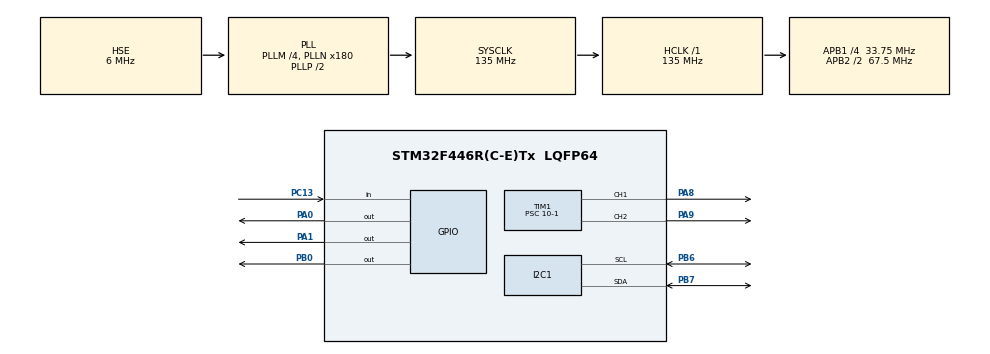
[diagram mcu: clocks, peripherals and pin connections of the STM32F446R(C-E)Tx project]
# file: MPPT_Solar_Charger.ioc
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Dma.Request0=TIM1_CH1
Dma.Request1=TIM1_CH2
Dma.TIM1_CH1.0.Direction=DMA_MEMORY_TO_PERIPH
Dma.TIM1_CH1.0.FIFOMode=DMA_FIFOMODE_DISABLE
Dma.TIM1_CH1.0.Instance=DMA2_Stream1
Dma.TIM1_CH1.0.MemDataAlignment=DMA_MDATAALIGN_HALFWORD
Dma.TIM1_CH1.0.MemInc=DMA_MINC_ENABLE
Dma.TIM1_CH1.0.Mode=DMA_CIRCULAR
Dma.TIM1_CH1.0.PeriphDataAlignment=DMA_PDATAALIGN_HALFWORD
Dma.TIM1_CH1.0.PeriphInc=DMA_PINC_DISABLE
Dma.TIM1_CH1.0.Priority=DMA_PRIORITY_LOW
Dma.TIM1_CH2.1.Direction=DMA_MEMORY_TO_PERIPH
Dma.TIM1_CH2.1.FIFOMode=DMA_FIFOMODE_DISABLE
Dma.TIM1_CH2.1.Instance=DMA2_Stream2
Dma.TIM1_CH2.1.MemDataAlignment=DMA_MDATAALIGN_HALFWORD
Dma.TIM1_CH2.1.MemInc=DMA_MINC_ENABLE
Dma.TIM1_CH2.1.Mode=DMA_CIRCULAR
Dma.TIM1_CH2.1.PeriphDataAlignment=DMA_PDATAALIGN_HALFWORD
Dma.TIM1_CH2.1.PeriphInc=DMA_PINC_DISABLE
Dma.TIM1_CH2.1.Priority=DMA_PRIORITY_LOW
I2C1.I2C_Mode=I2C_Fast
Mcu.Family=STM32F4
Mcu.Name=STM32F446R(C-E)Tx
Mcu.Package=LQFP64
NVIC.DMA2_Stream1_IRQn=true\:0\:0\:false\:false\:true\:false\:true\:true
NVIC.DMA2_Stream2_IRQn=true\:0\:0\:false\:false\:true\:false\:true\:true
NVIC.PriorityGroup=NVIC_PRIORITYGROUP_4
PA0-WKUP.Signal=GPIO_Output
PA1.Signal=GPIO_Output
PA8.Signal=S_TIM1_CH1
PA9.Signal=S_TIM1_CH2
PB0.Signal=GPIO_Output
PB6.Mode=I2C
PB6.Signal=I2C1_SCL
PB7.Mode=I2C
PB7.Signal=I2C1_SDA
PC13.Signal=GPIO_Input
PH0-OSC_IN.Mode=HSE-External-Oscillator
PH0-OSC_IN.Signal=RCC_OSC_IN
PH1-OSC_OUT.Mode=HSE-External-Oscillator
PH1-OSC_OUT.Signal=RCC_OSC_OUT
ProjectManager.HeapSize=0x200
ProjectManager.StackSize=0x400
ProjectManager.TargetToolchain=STM32CubeIDE
RCC.AHBFreq_Value=135000000
RCC.APB1CLKDivider=RCC_HCLK_DIV4
RCC.APB1Freq_Value=33750000
RCC.APB1TimFreq_Value=67500000
RCC.APB2CLKDivider=RCC_HCLK_DIV2
RCC.APB2Freq_Value=67500000
RCC.APB2TimFreq_Value=135000000
RCC.CortexFreq_Value=135000000
RCC.HCLKFreq_Value=135000000
RCC.HSE_VALUE=6000000
RCC.PLLM=4
RCC.PLLN=180
RCC.PLLSourceVirtual=RCC_PLLSOURCE_HSE
RCC.SYSCLKFreq_VALUE=135000000
RCC.SYSCLKSource=RCC_SYSCLKSOURCE_PLLCLK
RCC.USBFreq_Value=135000000
RCC.VCOOutputFreq_Value=270000000
SH.S_TIM1_CH1.0=TIM1_CH1,PWM Generation1 CH1
SH.S_TIM1_CH2.0=TIM1_CH2,PWM Generation2 CH2
TIM1.Channel-PWM\ Generation1\ CH1=TIM_CHANNEL_1
TIM1.Channel-PWM\ Generation2\ CH2=TIM_CHANNEL_2
TIM1.Period=1000-1
TIM1.Prescaler=10-1
TIM9.Prescaler=180-1
VP_TIM1_VS_ClockSourceINT.Mode=Internal
VP_TIM9_VS_ClockSourceINT.Mode=Internal
board=custom

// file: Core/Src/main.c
/* USER CODE BEGIN Header */
/**
  ******************************************************************************
  * @file           : main.c
  * @brief          : Main program body
  ******************************************************************************
  * @attention
  *
  * Copyright (c) 2026 STMicroelectronics.
  * All rights reserved.
  *
  * This software is licensed under terms that can be found in the LICENSE file
  * in the root directory of this software component.
  * If no LICENSE file comes with this software, it is provided AS-IS.
  *
  ******************************************************************************
  */
/* USER CODE END Header */
#include "main.h"

/* USER CODE BEGIN Includes */
#include "stdio.h" // for sprintf
#include "ADS1115.h"
#include "ssd1306.h"
#include "fonts.h"
#include "i2c-lcd.h"
#include "dht11.h"

/* USER CODE END Includes */

/* USER CODE BEGIN PD */
// ADS ACS Config
#define NUM_SAMPLES                  10
#define GAIN_ONE_FACTOR              0.000125f
#define GAIN_SIXTEEN_FACTOR          0.0000078125f
#define EMP_ADC1_ZERO_CURRENT_OFFSET 2900
#define EMP_ADC2_ZERO_CURRENT_OFFSET 1300
#define ACS712_SENSITIVITY           0.185f
#define EMP_V_A2_IN_CONSTANT         0.091160986f
#define EMP_V_A2_OUT_CONSTANT        0.091669765f
#define PWM_INCREMENT                50 // when using button (open loop)

// MPPT Config for closed loop feedback
// using PWM resolution of 1000
#define MPPT_DELTA_DUTY     10
#define MPPT_DUTY_MIN       100
#define MPPT_DUTY_MAX       900

// MPPT state variables
float prev_p_in      = 0.0f;
float prev_v_in      = 0.0f;
float prev_duty_q1   = 500;          // depends on the battery used for charging.

// Fan control
#define FAN_DELTA_DUTY     50
#define FAN_MIN 0
#define FAN_MAX 500

/* USER CODE END PD */

I2C_HandleTypeDef hi2c1;

TIM_HandleTypeDef htim1;
TIM_HandleTypeDef htim9;
DMA_HandleTypeDef hdma_tim1_ch1;
DMA_HandleTypeDef hdma_tim1_ch2;

/* USER CODE BEGIN PV */
ADS1xx5_I2C i2c1;
ADS1xx5_I2C i2c2;

/* USER CODE END PV */

void SystemClock_Config(void);
static void MX_GPIO_Init(void);
static void MX_DMA_Init(void);
static void MX_TIM1_Init(void);
static void MX_I2C1_Init(void);
static void MX_TIM9_Init(void);
/* USER CODE BEGIN PFP */
void delay_us(uint16_t us);
void check_button(void);

/* USER CODE END PFP */

/* USER CODE BEGIN 0 */
uint32_t duty_q1 = 50;
float d_q1_percent = 0;

// ADC raw accumulator variables (need to hold sum of NUM_SAMPLES readings
int32_t raw_adc1_a0 = 0; // measures input current
int32_t raw_adc1_a2 = 0; // measures input voltage

int32_t raw_adc2_a0 = 0; // measures output current
int32_t raw_adc2_a2 = 0; // measures output voltage

// Mean ADC values (averaged readings)
int16_t mean_adc1[3]; // ADC readings are signed, max value 32,767
int16_t raw_adc1[3]; // raw readings

int16_t mean_adc2[3]; // ADC readings are signed, max value 32,767
int16_t raw_adc2[3]; // raw readings

// voltage calculations (floating point for precision)
float mean_adc1_A0_v, mean_adc1_A2_v, mean_v_in, mean_i_in, mean_p_in;
float mean_adc2_A0_v, mean_adc2_A2_v, mean_v_out, mean_i_out, mean_p_out;

// Display variables as strings
char buf_p_in[6], buf_i_in[5], buf_v_in[6];
char buf_p_out[6], buf_i_out[5], buf_v_out[6], buf_duty[5];

int buttonState = 1, buttonPressed = 0;

DHT11_DataTypeDef DHT11_Data;
float Temperature, Humidity, error;

uint32_t fanAmplitude = 500;
uint8_t Temp_set = 25;

/* USER CODE END 0 */

int main(void)
{

  /* MCU Configuration--------------------------------------------------------*/

  /* Reset of all peripherals, Initializes the Flash interface and the Systick. */
  HAL_Init();

  /* Configure the system clock */
  SystemClock_Config();

  /* Initialize all configured peripherals */
  MX_GPIO_Init();
  MX_DMA_Init();
  MX_TIM1_Init();
  MX_I2C1_Init();
  MX_TIM9_Init();
  /* USER CODE BEGIN 2 */
  HAL_TIM_PWM_Start_DMA(&htim1, TIM_CHANNEL_1, (uint32_t *) &duty_q1, 1); // for switch
  //HAL_TIMEx_PWMN_Start(&htim1, TIM_CHANNEL_1); // for synchronous switch

  /* Fan Control */
  HAL_TIM_Base_Start(&htim9);
  HAL_TIM_PWM_Start_DMA(&htim1, TIM_CHANNEL_2, (uint32_t *) &fanAmplitude, 1);
  HAL_GPIO_WritePin(GPIOA, GPIO_PIN_0, 1);
  HAL_GPIO_WritePin(GPIOA, GPIO_PIN_1, 0);

  // SD pin IR2104.
  HAL_GPIO_WritePin(GPIOB, GPIO_PIN_0, 1);

//  // LCD Configuration
  lcd_init();
  lcd_clear();
//  lcd_init();
//  lcd_clear();
//  lcd_put_cur(0, 0);
//  lcd_send_string("YELLO!");
//  HAL_Delay(10000);

  // ADS Configuration
  // ADC 1
  ADS1115(&i2c1, &hi2c1, ADS_ADDR_VDD);

  // ADC 2
  ADS1115(&i2c2, &hi2c1, ADS_ADDR_GND);

  // OLED Configuration
  SSD1306_Init();

  /* USER CODE END 2 */

  /* Infinite loop */
  /* USER CODE BEGIN WHILE */
  while (1)
  {

	  check_button(); // if button pressed increment duty_q1 by 50.

	  /* Fan control */

	  raw_adc1_a0 = 0;
	  raw_adc1_a2 = 0;
	  raw_adc2_a0 = 0;
	  raw_adc2_a2 = 0;

	  for (int i = 0; i < NUM_SAMPLES; i++){
		  // raw current measurements
		  raw_adc1[0] = ADSreadADC_Differential_0_1(&i2c1, GAIN_SIXTEEN);
		  raw_adc2[0] = ADSreadADC_Differential_0_1(&i2c2, GAIN_SIXTEEN);

//		  if (raw_adc1[0] < 0){
//			  raw_adc1[0] = 0;
//		  }
//
//		  if (raw_adc2[0] < 0){
//			  raw_adc2[0] = 0;
//		  }

		  raw_adc1_a0 += raw_adc1[0];
		  raw_adc2_a0 += raw_adc2[0];

		  // raw voltage measurements
		  raw_adc1[2] = ADSreadADC_SingleEnded(&i2c1, 2, GAIN_ONE);
		  raw_adc2[2] = ADSreadADC_SingleEnded(&i2c2, 2, GAIN_ONE);
//		  if (raw_adc1[2] < 0){
//			  raw_adc1[2] = 0;
//		  }
//		  if (raw_adc2[2] < 0){
//			  raw_adc2[2] = 0;
//		  }
		  raw_adc1_a2 += raw_adc1[2];
		  raw_adc2_a2 += raw_adc2[2];
	  }

	  // mean current measurements
	  mean_adc1[0] = raw_adc1_a0 / NUM_SAMPLES;
	  mean_adc2[0] = raw_adc2_a0 / NUM_SAMPLES;

	  mean_adc1_A0_v = (mean_adc1[0] - EMP_ADC1_ZERO_CURRENT_OFFSET) * GAIN_SIXTEEN_FACTOR;
	  mean_adc2_A0_v = (mean_adc2[0] - EMP_ADC2_ZERO_CURRENT_OFFSET) * GAIN_SIXTEEN_FACTOR;
	  mean_i_in = (mean_adc1_A0_v) / ACS712_SENSITIVITY;
	  mean_i_out = (mean_adc2_A0_v) / ACS712_SENSITIVITY;

	  // mean voltage measurements
	  mean_adc1[2] = raw_adc1_a2 / NUM_SAMPLES;
	  mean_adc2[2] = raw_adc2_a2 / NUM_SAMPLES;

	  mean_adc1_A2_v = mean_adc1[2] * GAIN_ONE_FACTOR;
	  mean_adc2_A2_v = mean_adc2[2] * GAIN_ONE_FACTOR;

	  mean_v_in = mean_adc1_A2_v / EMP_V_A2_IN_CONSTANT;
	  mean_v_out = mean_adc2_A2_v / EMP_V_A2_OUT_CONSTANT;

	  //// BIDIRECTIONAL?! //////
//	  if (mean_i_in < 0){
//	  	  mean_i_in = 0;
//	  }
//
//	  if (mean_i_out < 0){
//	  	  mean_i_out = 0;
//	  }
//
//	  if (mean_v_in < 0){
//		  mean_v_in = 0;
//	  }
//
//	  if (mean_v_out < 0){
//		  mean_v_out = 0;
//	  }

	  // Calculate (instantaneous real) power
	  mean_p_in = mean_v_in * mean_i_in;
	  mean_p_out = mean_v_out * mean_i_out;

	  /* Display in OLEDs and LCDs */
	  sprintf(buf_p_in, "%.2f", mean_p_in);
	  sprintf(buf_i_in, "%.2f", mean_i_in);
	  sprintf(buf_v_in, "%.2f", mean_v_in);

	  sprintf(buf_p_out, "%.2f", mean_p_out);
	  sprintf(buf_i_out, "%.2f", mean_i_out);
	  sprintf(buf_v_out, "%.2f", mean_v_out);

	  d_q1_percent = (float) duty_q1 / 1000 * 100;
	  sprintf(buf_duty, "%.1f", d_q1_percent);

	  // display IN variables in SSD
	  SSD1306_GotoXY(5, 0);
	  SSD1306_Puts("P:", &Font_11x18, 1);
	  SSD1306_Puts (buf_p_in, &Font_11x18, 1);
	  SSD1306_Puts (" W", &Font_11x18, 1);

	  SSD1306_GotoXY(5, 20);
	  SSD1306_Puts("I:", &Font_11x18, 1);
	  SSD1306_Puts (buf_i_in, &Font_11x18, 1);
	  SSD1306_Puts (" A", &Font_11x18, 1);

	  SSD1306_GotoXY(5, 40);
	  SSD1306_Puts("V:", &Font_11x18, 1);
	  SSD1306_Puts (buf_v_in, &Font_11x18, 1);
	  SSD1306_Puts (" V", &Font_11x18, 1);
	  SSD1306_UpdateScreen();

	  // display OUT variables in LCD

	  lcd_put_cur(0,0);
	  lcd_send_string("P:");
	  lcd_send_string(buf_p_out);
	  lcd_send_string("W ");

	  lcd_send_string("I:");
	  lcd_send_string(buf_i_out);
	  lcd_send_string("A");

	  lcd_put_cur(1,0);
	  lcd_send_string("V:");
	  lcd_send_string(buf_v_out);
	  lcd_send_string("V ");

	  lcd_send_string("d:");
	  lcd_send_string(buf_duty);
	  lcd_send_string("%");

	  DHT11_GetData(&DHT11_Data);
	  Temperature = DHT11_Data.Temperature;
	  Humidity = DHT11_Data.Humidity;
	  error = Temperature - Temp_set;

	  if (error > 0)
	      fanAmplitude += DELTA_DUTY;
	  else if (error < 0)
	      fanAmplitude -= DELTA_DUTY;

	  // Clamp
	  if (fanAmplitude > FAN_MAX) fanAmplitude = FAN_MAX;
	  if (fanAmplitude < FAN_MIN) fanAmplitude = FAN_MIN;

	  /* MPPT Algorithm a simple perturb and observe */
	  // compute power
	  mean_p_in  = mean_v_in  * mean_i_in;
	  mean_p_out = mean_v_out * mean_i_out;

	  // P&O MPPT
	  float delta_p = mean_p_in - prev_p_in;

	  if (delta_p > 0.0f)
	      duty_q1 += MPPT_DELTA_DUTY;
	  else if (delta_p < 0.0f)
	      duty_q1 -= MPPT_DELTA_DUTY;

	  // Clamp
	  if (duty_q1 > MPPT_DUTY_MAX) duty_q1 = MPPT_DUTY_MAX;
	  if (duty_q1 < MPPT_DUTY_MIN) duty_q1 = MPPT_DUTY_MIN;

	  // Store previous
	  prev_p_in = mean_p_in;

	  HAL_Delay(50);
    /* USER CODE END WHILE */

  }
}

void SystemClock_Config(void)
{
  RCC_OscInitTypeDef RCC_OscInitStruct = {0};
  RCC_ClkInitTypeDef RCC_ClkInitStruct = {0};

  /** Configure the main internal regulator output voltage
  */
  __HAL_RCC_PWR_CLK_ENABLE();
  __HAL_PWR_VOLTAGESCALING_CONFIG(PWR_REGULATOR_VOLTAGE_SCALE2);

  /** Initializes the RCC Oscillators according to the specified parameters
  * in the RCC_OscInitTypeDef structure.
  */
  RCC_OscInitStruct.OscillatorType = RCC_OSCILLATORTYPE_HSE;
  RCC_OscInitStruct.HSEState = RCC_HSE_ON;
  RCC_OscInitStruct.PLL.PLLState = RCC_PLL_ON;
  RCC_OscInitStruct.PLL.PLLSource = RCC_PLLSOURCE_HSE;
  RCC_OscInitStruct.PLL.PLLM = 4;
  RCC_OscInitStruct.PLL.PLLN = 180;
  RCC_OscInitStruct.PLL.PLLP = RCC_PLLP_DIV2;
  RCC_OscInitStruct.PLL.PLLQ = 2;
  RCC_OscInitStruct.PLL.PLLR = 2;
  if (HAL_RCC_OscConfig(&RCC_OscInitStruct) != HAL_OK)
  {
    Error_Handler();
  }

  /** Initializes the CPU, AHB and APB buses clocks
  */
  RCC_ClkInitStruct.ClockType = RCC_CLOCKTYPE_HCLK|RCC_CLOCKTYPE_SYSCLK
                              |RCC_CLOCKTYPE_PCLK1|RCC_CLOCKTYPE_PCLK2;
  RCC_ClkInitStruct.SYSCLKSource = RCC_SYSCLKSOURCE_PLLCLK;
  RCC_ClkInitStruct.AHBCLKDivider = RCC_SYSCLK_DIV1;
  RCC_ClkInitStruct.APB1CLKDivider = RCC_HCLK_DIV4;
  RCC_ClkInitStruct.APB2CLKDivider = RCC_HCLK_DIV2;

  if (HAL_RCC_ClockConfig(&RCC_ClkInitStruct, FLASH_LATENCY_4) != HAL_OK)
  {
    Error_Handler();
  }
}

static void MX_I2C1_Init(void)
{

  hi2c1.Instance = I2C1;
  hi2c1.Init.ClockSpeed = 400000;
  hi2c1.Init.DutyCycle = I2C_DUTYCYCLE_2;
  hi2c1.Init.OwnAddress1 = 0;
  hi2c1.Init.AddressingMode = I2C_ADDRESSINGMODE_7BIT;
  hi2c1.Init.DualAddressMode = I2C_DUALADDRESS_DISABLE;
  hi2c1.Init.OwnAddress2 = 0;
  hi2c1.Init.GeneralCallMode = I2C_GENERALCALL_DISABLE;
  hi2c1.Init.NoStretchMode = I2C_NOSTRETCH_DISABLE;
  if (HAL_I2C_Init(&hi2c1) != HAL_OK)
  {
    Error_Handler();
  }

}

static void MX_TIM1_Init(void)
{

  TIM_ClockConfigTypeDef sClockSourceConfig = {0};
  TIM_MasterConfigTypeDef sMasterConfig = {0};
  TIM_OC_InitTypeDef sConfigOC = {0};
  TIM_BreakDeadTimeConfigTypeDef sBreakDeadTimeConfig = {0};

  htim1.Instance = TIM1;
  htim1.Init.Prescaler = 10-1;
  htim1.Init.CounterMode = TIM_COUNTERMODE_UP;
  htim1.Init.Period = 1000-1;
  htim1.Init.ClockDivision = TIM_CLOCKDIVISION_DIV1;
  htim1.Init.RepetitionCounter = 0;
  htim1.Init.AutoReloadPreload = TIM_AUTORELOAD_PRELOAD_DISABLE;
  if (HAL_TIM_Base_Init(&htim1) != HAL_OK)
  {
    Error_Handler();
  }
  sClockSourceConfig.ClockSource = TIM_CLOCKSOURCE_INTERNAL;
  if (HAL_TIM_ConfigClockSource(&htim1, &sClockSourceConfig) != HAL_OK)
  {
    Error_Handler();
  }
  if (HAL_TIM_PWM_Init(&htim1) != HAL_OK)
  {
    Error_Handler();
  }
  sMasterConfig.MasterOutputTrigger = TIM_TRGO_RESET;
  sMasterConfig.MasterSlaveMode = TIM_MASTERSLAVEMODE_DISABLE;
  if (HAL_TIMEx_MasterConfigSynchronization(&htim1, &sMasterConfig) != HAL_OK)
  {
    Error_Handler();
  }
  sConfigOC.OCMode = TIM_OCMODE_PWM1;
  sConfigOC.Pulse = 0;
  sConfigOC.OCPolarity = TIM_OCPOLARITY_HIGH;
  sConfigOC.OCNPolarity = TIM_OCNPOLARITY_HIGH;
  sConfigOC.OCFastMode = TIM_OCFAST_DISABLE;
  sConfigOC.OCIdleState = TIM_OCIDLESTATE_RESET;
  sConfigOC.OCNIdleState = TIM_OCNIDLESTATE_RESET;
  if (HAL_TIM_PWM_ConfigChannel(&htim1, &sConfigOC, TIM_CHANNEL_1) != HAL_OK)
  {
    Error_Handler();
  }
  if (HAL_TIM_PWM_ConfigChannel(&htim1, &sConfigOC, TIM_CHANNEL_2) != HAL_OK)
  {
    Error_Handler();
  }
  sBreakDeadTimeConfig.OffStateRunMode = TIM_OSSR_DISABLE;
  sBreakDeadTimeConfig.OffStateIDLEMode = TIM_OSSI_DISABLE;
  sBreakDeadTimeConfig.LockLevel = TIM_LOCKLEVEL_OFF;
  sBreakDeadTimeConfig.DeadTime = 0;
  sBreakDeadTimeConfig.BreakState = TIM_BREAK_DISABLE;
  sBreakDeadTimeConfig.BreakPolarity = TIM_BREAKPOLARITY_HIGH;
  sBreakDeadTimeConfig.AutomaticOutput = TIM_AUTOMATICOUTPUT_DISABLE;
  if (HAL_TIMEx_ConfigBreakDeadTime(&htim1, &sBreakDeadTimeConfig) != HAL_OK)
  {
    Error_Handler();
  }
  HAL_TIM_MspPostInit(&htim1);

}

static void MX_TIM9_Init(void)
{

  TIM_ClockConfigTypeDef sClockSourceConfig = {0};

  htim9.Instance = TIM9;
  htim9.Init.Prescaler = 180-1;
  htim9.Init.CounterMode = TIM_COUNTERMODE_UP;
  htim9.Init.Period = 65535;
  htim9.Init.ClockDivision = TIM_CLOCKDIVISION_DIV1;
  htim9.Init.AutoReloadPreload = TIM_AUTORELOAD_PRELOAD_DISABLE;
  if (HAL_TIM_Base_Init(&htim9) != HAL_OK)
  {
    Error_Handler();
  }
  sClockSourceConfig.ClockSource = TIM_CLOCKSOURCE_INTERNAL;
  if (HAL_TIM_ConfigClockSource(&htim9, &sClockSourceConfig) != HAL_OK)
  {
    Error_Handler();
  }

}

static void MX_DMA_Init(void)
{

  /* DMA controller clock enable */
  __HAL_RCC_DMA2_CLK_ENABLE();

  /* DMA interrupt init */
  /* DMA2_Stream1_IRQn interrupt configuration */
  HAL_NVIC_SetPriority(DMA2_Stream1_IRQn, 0, 0);
  HAL_NVIC_EnableIRQ(DMA2_Stream1_IRQn);
  /* DMA2_Stream2_IRQn interrupt configuration */
  HAL_NVIC_SetPriority(DMA2_Stream2_IRQn, 0, 0);
  HAL_NVIC_EnableIRQ(DMA2_Stream2_IRQn);

}

static void MX_GPIO_Init(void)
{
  GPIO_InitTypeDef GPIO_InitStruct = {0};

  /* GPIO Ports Clock Enable */
  __HAL_RCC_GPIOC_CLK_ENABLE();
  __HAL_RCC_GPIOH_CLK_ENABLE();
  __HAL_RCC_GPIOA_CLK_ENABLE();
  __HAL_RCC_GPIOB_CLK_ENABLE();

  /*Configure GPIO pin Output Level */
  HAL_GPIO_WritePin(GPIOA, GPIO_PIN_0|GPIO_PIN_1, GPIO_PIN_RESET);

  /*Configure GPIO pin Output Level */
  HAL_GPIO_WritePin(GPIOB, GPIO_PIN_0, GPIO_PIN_RESET);

  /*Configure GPIO pin : PC13 */
  GPIO_InitStruct.Pin = GPIO_PIN_13;
  GPIO_InitStruct.Mode = GPIO_MODE_INPUT;
  GPIO_InitStruct.Pull = GPIO_NOPULL;
  HAL_GPIO_Init(GPIOC, &GPIO_InitStruct);

  /*Configure GPIO pins : PA0 PA1 */
  GPIO_InitStruct.Pin = GPIO_PIN_0|GPIO_PIN_1;
  GPIO_InitStruct.Mode = GPIO_MODE_OUTPUT_PP;
  GPIO_InitStruct.Pull = GPIO_NOPULL;
  GPIO_InitStruct.Speed = GPIO_SPEED_FREQ_LOW;
  HAL_GPIO_Init(GPIOA, &GPIO_InitStruct);

  /*Configure GPIO pin : PB0 */
  GPIO_InitStruct.Pin = GPIO_PIN_0;
  GPIO_InitStruct.Mode = GPIO_MODE_OUTPUT_PP;
  GPIO_InitStruct.Pull = GPIO_NOPULL;
  GPIO_InitStruct.Speed = GPIO_SPEED_FREQ_LOW;
  HAL_GPIO_Init(GPIOB, &GPIO_InitStruct);

}

/* USER CODE BEGIN 4 */
void check_button(void){

	uint32_t last_button_time = 0;
	uint8_t button_was_pressed = 0;

	// Read button state (active low on PC13)
	uint8_t button_is_pressed = (HAL_GPIO_ReadPin(GPIOC, GPIO_PIN_13) == GPIO_PIN_RESET);

	if (button_is_pressed && !button_was_pressed){
		if (HAL_GetTick() - last_button_time > 500){
			// debounce time passed, valid press
			if (duty_q1 <= 900){
				duty_q1 += PWM_INCREMENT;
			}
			else {
				duty_q1 = 100;
			}

			last_button_time = HAL_GetTick();
		}
	}
	button_was_pressed = button_is_pressed;
}

// delay function
void delay_us(uint16_t us){
    /* Since maximum ARR = 65,535, each tick at 90MHz will take 1 / 90/(PSC + 1) us
     * the MAX_DELAY = 65us per cycle.
     * For delays > 65us, we break it into multiple cycles.
     */

    const uint16_t MAX_DELAY = 65; // Maximum delay per cycle in microseconds

    while (us > MAX_DELAY) {
        __HAL_TIM_SET_COUNTER(&htim1, 0);
        while (__HAL_TIM_GET_COUNTER(&htim1) < MAX_DELAY);
        us -= MAX_DELAY;
    }

    // Handle remaining delay
    if (us > 0) {
        __HAL_TIM_SET_COUNTER(&htim1, 0);
        while (__HAL_TIM_GET_COUNTER(&htim1) < us);
    }
}

/* USER CODE END 4 */

void Error_Handler(void)
{
  __disable_irq();
  while (1)
  {
  }
}
